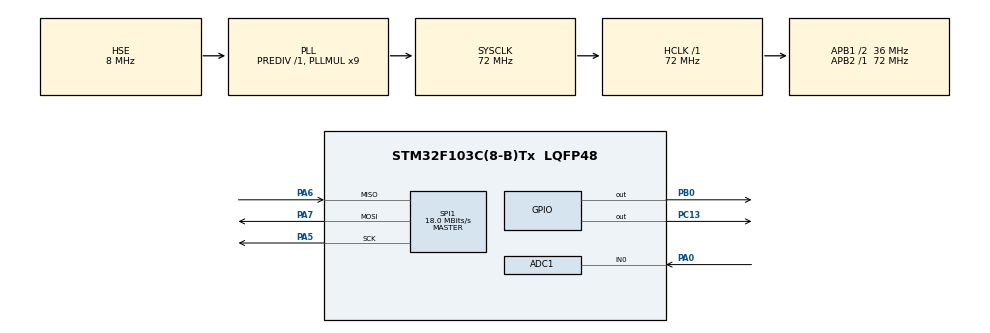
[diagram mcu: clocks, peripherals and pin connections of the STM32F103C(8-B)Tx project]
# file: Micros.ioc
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ADC1.Channel-4\#ChannelRegularConversion=ADC_CHANNEL_0
ADC1.ContinuousConvMode=ENABLE
ADC1.NbrOfConversion=1
ADC1.NbrOfConversionFlag=1
ADC1.Rank-4\#ChannelRegularConversion=1
ADC1.SamplingTime-4\#ChannelRegularConversion=ADC_SAMPLETIME_71CYCLES_5
ADC1.master=1
Dma.ADC1.0.Direction=DMA_PERIPH_TO_MEMORY
Dma.ADC1.0.Instance=DMA1_Channel1
Dma.ADC1.0.MemDataAlignment=DMA_MDATAALIGN_WORD
Dma.ADC1.0.MemInc=DMA_MINC_ENABLE
Dma.ADC1.0.Mode=DMA_CIRCULAR
Dma.ADC1.0.PeriphDataAlignment=DMA_PDATAALIGN_WORD
Dma.ADC1.0.PeriphInc=DMA_PINC_DISABLE
Dma.ADC1.0.Priority=DMA_PRIORITY_HIGH
Dma.Request0=ADC1
Dma.Request1=SPI1_RX
Dma.Request2=SPI1_TX
Dma.SPI1_RX.1.Direction=DMA_PERIPH_TO_MEMORY
Dma.SPI1_RX.1.Instance=DMA1_Channel2
Dma.SPI1_RX.1.MemDataAlignment=DMA_MDATAALIGN_BYTE
Dma.SPI1_RX.1.MemInc=DMA_MINC_ENABLE
Dma.SPI1_RX.1.Mode=DMA_NORMAL
Dma.SPI1_RX.1.PeriphDataAlignment=DMA_PDATAALIGN_BYTE
Dma.SPI1_RX.1.PeriphInc=DMA_PINC_DISABLE
Dma.SPI1_RX.1.Priority=DMA_PRIORITY_VERY_HIGH
Dma.SPI1_TX.2.Direction=DMA_MEMORY_TO_PERIPH
Dma.SPI1_TX.2.Instance=DMA1_Channel3
Dma.SPI1_TX.2.MemDataAlignment=DMA_MDATAALIGN_BYTE
Dma.SPI1_TX.2.MemInc=DMA_MINC_ENABLE
Dma.SPI1_TX.2.Mode=DMA_NORMAL
Dma.SPI1_TX.2.PeriphDataAlignment=DMA_PDATAALIGN_BYTE
Dma.SPI1_TX.2.PeriphInc=DMA_PINC_DISABLE
Dma.SPI1_TX.2.Priority=DMA_PRIORITY_VERY_HIGH
FATFS._MAX_SS=4096
FATFS._USE_LFN=1
Mcu.Family=STM32F1
Mcu.Name=STM32F103C(8-B)Tx
Mcu.Package=LQFP48
NVIC.DMA1_Channel1_IRQn=true\:0\:0\:false\:false\:true\:false\:true
NVIC.DMA1_Channel2_IRQn=true\:0\:0\:false\:false\:true\:false\:true
NVIC.DMA1_Channel3_IRQn=true\:0\:0\:false\:false\:true\:false\:true
NVIC.PriorityGroup=NVIC_PRIORITYGROUP_4
NVIC.TIM2_IRQn=true\:0\:0\:false\:false\:true\:true\:true
PA0-WKUP.Signal=ADCx_IN0
PA13.Mode=Serial_Wire
PA13.Signal=SYS_JTMS-SWDIO
PA14.Mode=Serial_Wire
PA14.Signal=SYS_JTCK-SWCLK
PA5.Mode=Full_Duplex_Master
PA5.Signal=SPI1_SCK
PA6.Mode=Full_Duplex_Master
PA6.Signal=SPI1_MISO
PA7.Mode=Full_Duplex_Master
PA7.Signal=SPI1_MOSI
PB0.GPIO_PuPd=GPIO_NOPULL
PB0.Signal=GPIO_Output
PC13-TAMPER-RTC.Signal=GPIO_Output
PD0-OSC_IN.Mode=HSE-External-Oscillator
PD0-OSC_IN.Signal=RCC_OSC_IN
PD1-OSC_OUT.Mode=HSE-External-Oscillator
PD1-OSC_OUT.Signal=RCC_OSC_OUT
ProjectManager.HeapSize=0x200
ProjectManager.StackSize=0x400
ProjectManager.TargetToolchain=TrueSTUDIO
RCC.ADCPresc=RCC_ADCPCLK2_DIV6
RCC.AHBFreq_Value=72000000
RCC.APB1CLKDivider=RCC_HCLK_DIV2
RCC.APB1Freq_Value=36000000
RCC.APB1TimFreq_Value=72000000
RCC.APB2Freq_Value=72000000
RCC.APB2TimFreq_Value=72000000
RCC.HCLKFreq_Value=72000000
RCC.PLLMUL=RCC_PLL_MUL9
RCC.PLLSourceVirtual=RCC_PLLSOURCE_HSE
RCC.SYSCLKFreq_VALUE=72000000
RCC.SYSCLKSource=RCC_SYSCLKSOURCE_PLLCLK
RCC.USBFreq_Value=72000000
SH.ADCx_IN0.0=ADC1_IN0,IN0
SPI1.BaudRatePrescaler=SPI_BAUDRATEPRESCALER_4
SPI1.CalculateBaudRate=18.0 MBits/s
SPI1.Direction=SPI_DIRECTION_2LINES
SPI1.Mode=SPI_MODE_MASTER
SPI1.VirtualType=VM_MASTER
TIM2.Period=999
TIM2.Prescaler=2
VP_FATFS_VS_Generic.Mode=User_defined
VP_TIM2_VS_ClockSourceINT.Mode=Internal
board=custom

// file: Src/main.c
/* USER CODE BEGIN Header */
/**
 ******************************************************************************
 * @file           : main.c
 * @brief          : Main program body
 ******************************************************************************
 * @attention
 *
 * <h2><center>&copy; Copyright (c) 2019 STMicroelectronics.
 * All rights reserved.</center></h2>
 *
 * This software component is licensed by ST under Ultimate Liberty license
 * SLA0044, the "License"; You may not use this file except in compliance with
 * the License. You may obtain a copy of the License at:
 *                             www.st.com/SLA0044
 *
 ******************************************************************************
 */
/* USER CODE END Header */

#include "main.h"
#include "fatfs.h"

ADC_HandleTypeDef hadc1;
DMA_HandleTypeDef hdma_adc1;

SPI_HandleTypeDef hspi1;
DMA_HandleTypeDef hdma_spi1_rx;
DMA_HandleTypeDef hdma_spi1_tx;

TIM_HandleTypeDef htim2;

void SystemClock_Config(void);
static void MX_GPIO_Init(void);
static void MX_ADC1_Init(void);
static void MX_SPI1_Init(void);
static void MX_DMA_Init(void);
static void MX_TIM2_Init(void);

/* USER CODE BEGIN 0 */
	uint8_t Data[4];
	long int adcValue;
	uint32_t buffer;
	int count=0;
	FATFS fs;
	FIL fil;
	UINT br,bw;
	uint8_t buff[1000];
	int samples = 132300;
	int laco = 0;
	uint8_t closed = 0x00;
	uint8_t headerSet = 0x00;
void HAL_ADC_ConvCpltCallback( ADC_HandleTypeDef* hadc1)
{
	adcValue=buffer;
	HAL_ADC_Stop(hadc1);
}
char header[]= {82,73,70,70, //"RIFF"
                0x54,0x13,8,0,//FileSize-8
                87,65,86,69,//"WAVE"
                102,109,116,32,//"fmt "
                16,0,0,0,// Data segment 16bit
                1,0,//PCM format
                1,0,//Mono 2,0,//Double channel
                0x22,0x56,0,0,// sampling rate 22.050kHz
                68,172,0,0,//audio bit rate=sampling rate*channel number*bit number/8 16,177,2,0,//audio bit rate=sampling rate*channel number*bit number/8
                2,0,// Sample takes up 1 byte 4,0, / / ​​sample takes 4 bytes at a time
                16,0,// 8bit data per channel 16,0, // ​​16bit data per channel
                100,97,116,97,//"data"
                0x98,0x09,0x04,0// Data length 6s
               };

/*void writeS()
{
	FATFS fs;
	FIL fil;
	UINT br,bw;
	f_mount(&fs, "", 0);
	f_open(&fil, "0:3.wav", FA_OPEN_ALWAYS | FA_READ | FA_WRITE);
	f_write(&fil,header,44,&bw);
	uint8_t buff[2000];

	for(int t=0;t<132300;t++)
	{
		HAL_ADC_Start_DMA(&hadc1,&buffer,1);
		buff[count] = (adcValue >> 8);
	    buff[count+1] = (adcValue);
		count++;
		count++;
		if(count >= 1999){
			f_write(&fil,buff,2000,&bw);
			count = 0;
		}
		//while(__HAL_TIM_GET_COUNTER(&htim2) < 999);

	}
	f_close(&fil);
}*/

/* USER CODE END 0 */

int main(void)
{

  /* MCU Configuration--------------------------------------------------------*/

  /* Reset of all peripherals, Initializes the Flash interface and the Systick. */
  HAL_Init();

  /* Configure the system clock */
  SystemClock_Config();

  /* Initialize all configured peripherals */
  MX_GPIO_Init();
  MX_ADC1_Init();
  MX_SPI1_Init();
  MX_FATFS_Init();
  MX_DMA_Init();
  MX_TIM2_Init();
  /* USER CODE BEGIN 2 */
	/* Mount SD Card */

  /* USER CODE END 2 */

  /* Infinite loop */
  /* USER CODE BEGIN WHILE */
  HAL_ADC_Start_DMA(&hadc1,&buffer,1);
  HAL_TIM_Base_Start_IT(&htim2);
  //HAL_GPIO_WritePin(GPIOC,GPIO_PIN_13,GPIO_PIN_RESET);
  //writeS();
  //HAL_GPIO_WritePin(GPIOC,GPIO_PIN_13,GPIO_PIN_SET);

	while (1)
	{
    /* USER CODE END WHILE */

	}
}

void SystemClock_Config(void)
{
  RCC_OscInitTypeDef RCC_OscInitStruct = {0};
  RCC_ClkInitTypeDef RCC_ClkInitStruct = {0};
  RCC_PeriphCLKInitTypeDef PeriphClkInit = {0};

  /** Initializes the CPU, AHB and APB busses clocks
  */
  RCC_OscInitStruct.OscillatorType = RCC_OSCILLATORTYPE_HSE;
  RCC_OscInitStruct.HSEState = RCC_HSE_ON;
  RCC_OscInitStruct.HSEPredivValue = RCC_HSE_PREDIV_DIV1;
  RCC_OscInitStruct.HSIState = RCC_HSI_ON;
  RCC_OscInitStruct.PLL.PLLState = RCC_PLL_ON;
  RCC_OscInitStruct.PLL.PLLSource = RCC_PLLSOURCE_HSE;
  RCC_OscInitStruct.PLL.PLLMUL = RCC_PLL_MUL9;
  if (HAL_RCC_OscConfig(&RCC_OscInitStruct) != HAL_OK)
  {
    Error_Handler();
  }
  /** Initializes the CPU, AHB and APB busses clocks
  */
  RCC_ClkInitStruct.ClockType = RCC_CLOCKTYPE_HCLK|RCC_CLOCKTYPE_SYSCLK
                              |RCC_CLOCKTYPE_PCLK1|RCC_CLOCKTYPE_PCLK2;
  RCC_ClkInitStruct.SYSCLKSource = RCC_SYSCLKSOURCE_PLLCLK;
  RCC_ClkInitStruct.AHBCLKDivider = RCC_SYSCLK_DIV1;
  RCC_ClkInitStruct.APB1CLKDivider = RCC_HCLK_DIV2;
  RCC_ClkInitStruct.APB2CLKDivider = RCC_HCLK_DIV1;

  if (HAL_RCC_ClockConfig(&RCC_ClkInitStruct, FLASH_LATENCY_2) != HAL_OK)
  {
    Error_Handler();
  }
  PeriphClkInit.PeriphClockSelection = RCC_PERIPHCLK_ADC;
  PeriphClkInit.AdcClockSelection = RCC_ADCPCLK2_DIV6;
  if (HAL_RCCEx_PeriphCLKConfig(&PeriphClkInit) != HAL_OK)
  {
    Error_Handler();
  }
}

static void MX_ADC1_Init(void)
{

  ADC_ChannelConfTypeDef sConfig = {0};

  /** Common config
  */
  hadc1.Instance = ADC1;
  hadc1.Init.ScanConvMode = ADC_SCAN_DISABLE;
  hadc1.Init.ContinuousConvMode = ENABLE;
  hadc1.Init.DiscontinuousConvMode = DISABLE;
  hadc1.Init.ExternalTrigConv = ADC_SOFTWARE_START;
  hadc1.Init.DataAlign = ADC_DATAALIGN_RIGHT;
  hadc1.Init.NbrOfConversion = 1;
  if (HAL_ADC_Init(&hadc1) != HAL_OK)
  {
    Error_Handler();
  }
  /** Configure Regular Channel
  */
  sConfig.Channel = ADC_CHANNEL_0;
  sConfig.Rank = ADC_REGULAR_RANK_1;
  sConfig.SamplingTime = ADC_SAMPLETIME_71CYCLES_5;
  if (HAL_ADC_ConfigChannel(&hadc1, &sConfig) != HAL_OK)
  {
    Error_Handler();
  }

}

static void MX_SPI1_Init(void)
{

  /* SPI1 parameter configuration*/
  hspi1.Instance = SPI1;
  hspi1.Init.Mode = SPI_MODE_MASTER;
  hspi1.Init.Direction = SPI_DIRECTION_2LINES;
  hspi1.Init.DataSize = SPI_DATASIZE_8BIT;
  hspi1.Init.CLKPolarity = SPI_POLARITY_LOW;
  hspi1.Init.CLKPhase = SPI_PHASE_1EDGE;
  hspi1.Init.NSS = SPI_NSS_SOFT;
  hspi1.Init.BaudRatePrescaler = SPI_BAUDRATEPRESCALER_4;
  hspi1.Init.FirstBit = SPI_FIRSTBIT_MSB;
  hspi1.Init.TIMode = SPI_TIMODE_DISABLE;
  hspi1.Init.CRCCalculation = SPI_CRCCALCULATION_DISABLE;
  hspi1.Init.CRCPolynomial = 10;
  if (HAL_SPI_Init(&hspi1) != HAL_OK)
  {
    Error_Handler();
  }

}

static void MX_TIM2_Init(void)
{

  TIM_ClockConfigTypeDef sClockSourceConfig = {0};
  TIM_MasterConfigTypeDef sMasterConfig = {0};

  htim2.Instance = TIM2;
  htim2.Init.Prescaler = 2;
  htim2.Init.CounterMode = TIM_COUNTERMODE_UP;
  htim2.Init.Period = 999;
  htim2.Init.ClockDivision = TIM_CLOCKDIVISION_DIV1;
  htim2.Init.AutoReloadPreload = TIM_AUTORELOAD_PRELOAD_DISABLE;
  if (HAL_TIM_Base_Init(&htim2) != HAL_OK)
  {
    Error_Handler();
  }
  sClockSourceConfig.ClockSource = TIM_CLOCKSOURCE_INTERNAL;
  if (HAL_TIM_ConfigClockSource(&htim2, &sClockSourceConfig) != HAL_OK)
  {
    Error_Handler();
  }
  sMasterConfig.MasterOutputTrigger = TIM_TRGO_RESET;
  sMasterConfig.MasterSlaveMode = TIM_MASTERSLAVEMODE_DISABLE;
  if (HAL_TIMEx_MasterConfigSynchronization(&htim2, &sMasterConfig) != HAL_OK)
  {
    Error_Handler();
  }

}

static void MX_DMA_Init(void)
{

  /* DMA controller clock enable */
  __HAL_RCC_DMA1_CLK_ENABLE();

  /* DMA interrupt init */
  /* DMA1_Channel1_IRQn interrupt configuration */
  HAL_NVIC_SetPriority(DMA1_Channel1_IRQn, 0, 0);
  HAL_NVIC_EnableIRQ(DMA1_Channel1_IRQn);
  /* DMA1_Channel2_IRQn interrupt configuration */
  HAL_NVIC_SetPriority(DMA1_Channel2_IRQn, 0, 0);
  HAL_NVIC_EnableIRQ(DMA1_Channel2_IRQn);
  /* DMA1_Channel3_IRQn interrupt configuration */
  HAL_NVIC_SetPriority(DMA1_Channel3_IRQn, 0, 0);
  HAL_NVIC_EnableIRQ(DMA1_Channel3_IRQn);

}

static void MX_GPIO_Init(void)
{
  GPIO_InitTypeDef GPIO_InitStruct = {0};

  /* GPIO Ports Clock Enable */
  __HAL_RCC_GPIOC_CLK_ENABLE();
  __HAL_RCC_GPIOD_CLK_ENABLE();
  __HAL_RCC_GPIOA_CLK_ENABLE();
  __HAL_RCC_GPIOB_CLK_ENABLE();

  /*Configure GPIO pin Output Level */
  HAL_GPIO_WritePin(GPIOC, GPIO_PIN_13, GPIO_PIN_RESET);

  /*Configure GPIO pin Output Level */
  HAL_GPIO_WritePin(GPIOB, GPIO_PIN_0, GPIO_PIN_RESET);

  /*Configure GPIO pin : PC13 */
  GPIO_InitStruct.Pin = GPIO_PIN_13;
  GPIO_InitStruct.Mode = GPIO_MODE_OUTPUT_PP;
  GPIO_InitStruct.Pull = GPIO_NOPULL;
  GPIO_InitStruct.Speed = GPIO_SPEED_FREQ_LOW;
  HAL_GPIO_Init(GPIOC, &GPIO_InitStruct);

  /*Configure GPIO pin : PB0 */
  GPIO_InitStruct.Pin = GPIO_PIN_0;
  GPIO_InitStruct.Mode = GPIO_MODE_OUTPUT_PP;
  GPIO_InitStruct.Pull = GPIO_NOPULL;
  GPIO_InitStruct.Speed = GPIO_SPEED_FREQ_LOW;
  HAL_GPIO_Init(GPIOB, &GPIO_InitStruct);

}

/* USER CODE BEGIN 4 */
void HAL_TIM_PeriodElapsedCallback(TIM_HandleTypeDef *htim)
{
	HAL_ADC_Start_DMA(&hadc1,&buffer,1);
	if(headerSet == 0x00){
		  f_mount(&fs, "", 0);
		  f_open(&fil, "output.wav", FA_OPEN_ALWAYS | FA_READ | FA_WRITE);
		  f_write(&fil,header,44,&bw);
		  headerSet = 0x01;
	}
	if(laco == 0){
		HAL_GPIO_WritePin(GPIOC,GPIO_PIN_13,GPIO_PIN_RESET);
	}
	if(laco < samples){

		HAL_ADC_Start_DMA(&hadc1,&buffer,1);
		if(adcValue >= 0x061A && adcValue <= 0x088b){
			buff[count] = (0x07);
		    buff[count+1] = (0x53);
		}else{
			buff[count] = (adcValue >> 8);
		    buff[count+1] = (adcValue);
		}
		count++;
		count++;
		if(count >= 999){
			f_write(&fil,buff,1000,&bw);
			count = 0;
		}else if(laco == samples-1){
			f_write(&fil,buff,count,&bw);
			count = 0;
		}
		laco++;
	}else{
		if(closed == 0x00){
			f_close(&fil);
			closed = 0x01;
			HAL_GPIO_WritePin(GPIOC,GPIO_PIN_13,GPIO_PIN_SET);
		}
	}
}
/* USER CODE END 4 */

void Error_Handler(void)
{
}

/************************ (C) COPYRIGHT STMicroelectronics *****END OF FILE****/
